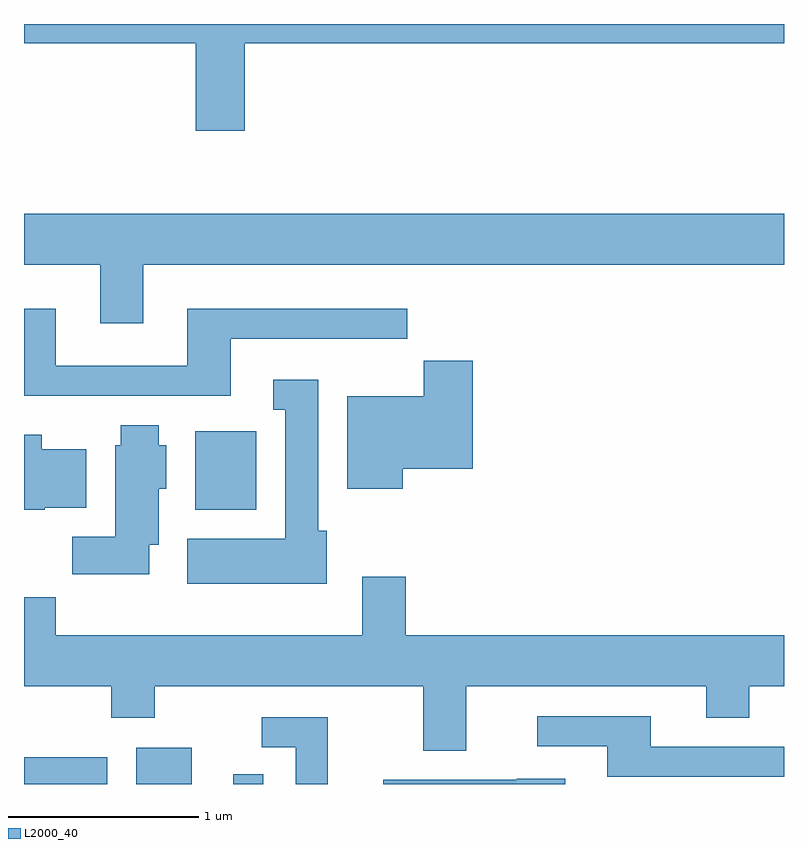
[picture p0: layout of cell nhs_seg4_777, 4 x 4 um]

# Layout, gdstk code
import gdstk
lib = gdstk.Library(unit=1e-6, precision=1e-09)
def R(c, l, rs):  # rectangles x0, y0, x1, y1
    for r in rs: c.add(gdstk.rectangle(r[:2], r[2:], *l))
def P(c, l, *ps):  # polygons
    for p in ps: c.add(gdstk.Polygon(p, *l))
L2000_40 = (2000, 40)

nhs_seg4_777 = lib.new_cell('nhs_seg4_777')
R(nhs_seg4_777, L2000_40, [(207.611,1311.982,208.049,1312.124), (208.201,1311.982,208.494,1312.174), (208.711,1311.982,208.869,1312.033), (208.511,1313.426,208.834,1313.839)])
P(nhs_seg4_777, L2000_40, [(208.774,1315.881),(211.611,1315.881),(211.611,1315.982),(207.611,1315.982),(207.611,1315.881),(208.516,1315.881),(208.516,1315.421),(208.774,1315.421)],
  [(208.239,1314.716),(211.611,1314.716),(211.611,1314.984),(207.611,1314.984),(207.611,1314.716),(208.011,1314.716),(208.011,1314.406),(208.239,1314.406)],
  [(208.699,1314.326),(209.628,1314.326),(209.628,1314.484),(208.471,1314.484),(208.471,1314.184),(207.779,1314.184),(207.779,1314.484),(207.611,1314.484),(207.611,1314.026),(208.699,1314.026)],
  [(209.604,1313.641),(209.974,1313.641),(209.974,1314.209),(209.716,1314.209),(209.716,1314.024),(209.311,1314.024),(209.311,1313.536),(209.604,1313.536)],
  [(209.204,1313.314),(209.159,1313.314),(209.159,1314.109),(208.923,1314.109),(208.923,1313.951),(208.986,1313.951),(208.986,1313.274),(208.471,1313.274),(208.471,1313.036),(209.204,1313.036)],
  [(208.269,1313.241),(208.319,1313.241),(208.319,1313.536),(208.359,1313.536),(208.359,1313.764),(208.319,1313.764),(208.319,1313.869),(208.121,1313.869),(208.121,1313.764),(208.091,1313.764),(208.091,1313.284),(207.866,1313.284),(207.866,1313.086),(208.269,1313.086)],
  [(207.72,1313.436),(207.939,1313.436),(207.939,1313.744),(207.704,1313.744),(207.704,1313.819),(207.611,1313.819),(207.611,1313.426),(207.72,1313.426)],
  [(209.939,1312.496),(211.201,1312.496),(211.201,1312.331),(211.429,1312.331),(211.429,1312.496),(211.611,1312.496),(211.611,1312.764),(209.619,1312.764),(209.619,1313.074),(209.391,1313.074),(209.391,1312.764),(207.779,1312.764),(207.779,1312.964),(207.611,1312.964),(207.611,1312.496),(208.071,1312.496),(208.071,1312.331),(208.299,1312.331),(208.299,1312.496),(209.711,1312.496),(209.711,1312.156),(209.939,1312.156)],
  [(211.611,1312.179),(210.909,1312.179),(210.909,1312.339),(210.313,1312.339),(210.313,1312.181),(210.681,1312.181),(210.681,1312.021),(211.611,1312.021)],
  [(209.209,1312.334),(208.863,1312.334),(208.863,1312.176),(209.041,1312.176),(209.041,1311.982),(209.209,1311.982)],
  [(210.459,1312.009),(210.205,1312.009),(210.205,1312.004),(209.501,1312.004),(209.501,1311.982),(210.459,1311.982)])

lib.write_gds('nhs_seg4_777.gds')
